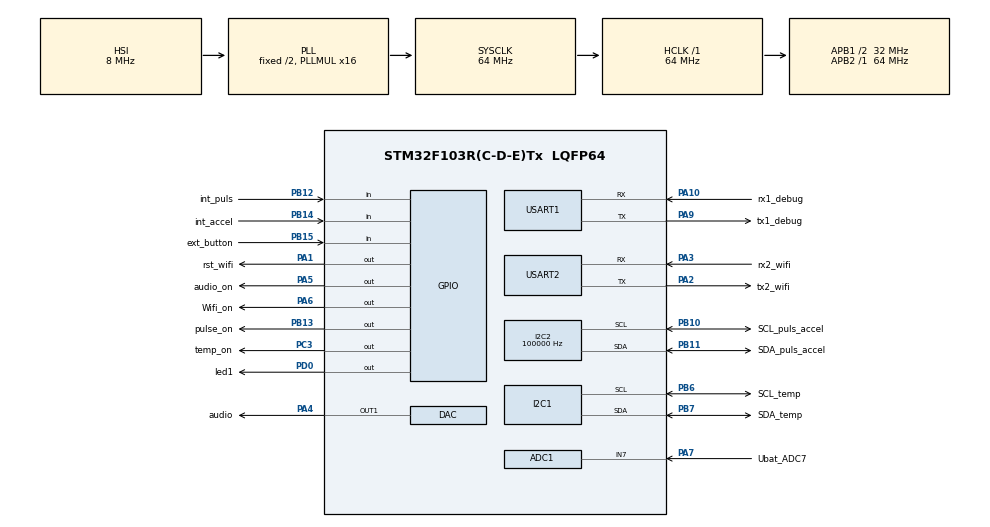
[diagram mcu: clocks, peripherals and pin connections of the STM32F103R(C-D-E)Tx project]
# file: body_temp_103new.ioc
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ADC1.Channel-0\#ChannelRegularConversion=ADC_CHANNEL_7
ADC1.NbrOfConversionFlag=1
ADC1.Rank-0\#ChannelRegularConversion=1
ADC1.SamplingTime-0\#ChannelRegularConversion=ADC_SAMPLETIME_1CYCLE_5
ADC1.master=1
I2C1.I2C_Mode=I2C_Fast
I2C2.ClockSpeed=100000
I2C2.I2C_Mode=I2C_Fast
Mcu.Family=STM32F1
Mcu.Name=STM32F103R(C-D-E)Tx
Mcu.Package=LQFP64
NVIC.PriorityGroup=NVIC_PRIORITYGROUP_4
NVIC.TIM2_IRQn=true\:0\:0\:false\:false\:true\:true\:true
NVIC.TIM4_IRQn=true\:0\:0\:false\:false\:true\:true\:true
NVIC.USART1_IRQn=true\:0\:0\:false\:false\:true\:true\:true
NVIC.USART2_IRQn=true\:0\:0\:false\:false\:true\:true\:true
PA1.GPIO_Label=rst_wifi
PA1.Signal=GPIO_Output
PA10.GPIO_Label=rx1_debug
PA10.Mode=Asynchronous
PA10.Signal=USART1_RX
PA13.Mode=Trace_Asynchronous_SW
PA13.Signal=SYS_JTMS-SWDIO
PA14.Mode=Trace_Asynchronous_SW
PA14.Signal=SYS_JTCK-SWCLK
PA2.GPIO_Label=tx2_wifi
PA2.Mode=Asynchronous
PA2.Signal=USART2_TX
PA3.GPIO_Label=rx2_wifi
PA3.Mode=Asynchronous
PA3.Signal=USART2_RX
PA4.GPIO_Label=audio
PA4.Signal=COMP_DAC1_group
PA5.GPIO_Label=audio_on
PA5.Signal=GPIO_Output
PA6.GPIO_Label=Wifi_on
PA6.Signal=GPIO_Output
PA7.GPIO_Label=Ubat_ADC7
PA7.Signal=ADCx_IN7
PA9.GPIO_Label=tx1_debug
PA9.Mode=Asynchronous
PA9.Signal=USART1_TX
PB10.GPIO_Label=SCL_puls_accel
PB10.Mode=I2C
PB10.Signal=I2C2_SCL
PB11.GPIO_Label=SDA_puls_accel
PB11.Mode=I2C
PB11.Signal=I2C2_SDA
PB12.GPIO_Label=int_puls
PB12.Signal=GPIO_Input
PB13.GPIO_Label=pulse_on
PB13.Signal=GPIO_Output
PB14.GPIO_Label=int_accel
PB14.Signal=GPIO_Input
PB15.GPIO_Label=ext_button
PB15.Signal=GPIO_Input
PB3.Mode=Trace_Asynchronous_SW
PB3.Signal=SYS_JTDO-TRACESWO
PB6.GPIO_Label=SCL_temp
PB6.Mode=I2C
PB6.Signal=I2C1_SCL
PB7.GPIO_Label=SDA_temp
PB7.Mode=I2C
PB7.Signal=I2C1_SDA
PC3.GPIO_Label=temp_on
PC3.Signal=GPIO_Output
PD0-OSC_IN.GPIO_Label=led1
PD0-OSC_IN.Signal=GPIO_Output
ProjectManager.HeapSize=0x200
ProjectManager.StackSize=0x400
ProjectManager.TargetToolchain=MDK-ARM V5
RCC.ADCPresc=RCC_ADCPCLK2_DIV6
RCC.AHBFreq_Value=64000000
RCC.APB1CLKDivider=RCC_HCLK_DIV2
RCC.APB1Freq_Value=32000000
RCC.APB1TimFreq_Value=64000000
RCC.APB2Freq_Value=64000000
RCC.APB2TimFreq_Value=64000000
RCC.HCLKFreq_Value=64000000
RCC.PLLMUL=RCC_PLL_MUL16
RCC.RTCClockSelection=RCC_RTCCLKSOURCE_LSE
RCC.SYSCLKFreq_VALUE=64000000
RCC.SYSCLKSource=RCC_SYSCLKSOURCE_PLLCLK
RCC.USBFreq_Value=64000000
SH.ADCx_IN7.0=ADC1_IN7,IN7
SH.COMP_DAC1_group.0=DAC_OUT1,DAC_OUT1
TIM2.Period=30
TIM2.Prescaler=200
TIM4.Period=64
TIM4.Prescaler=6400
USART1.VirtualMode=VM_ASYNC
USART2.VirtualMode=VM_ASYNC
VP_TIM2_VS_ClockSourceINT.Mode=Internal
VP_TIM4_VS_ClockSourceINT.Mode=Internal
board=custom

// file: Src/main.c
/* USER CODE BEGIN Header */
/**
  ******************************************************************************
  * @file           : main.c
  * @brief          : Main program body
  ******************************************************************************
  * @attention
  *
  * <h2><center>&copy; Copyright (c) 2020 STMicroelectronics.
  * All rights reserved.</center></h2>
  *
  * This software component is licensed by ST under BSD 3-Clause license,
  * the "License"; You may not use this file except in compliance with the
  * License. You may obtain a copy of the License at:
  *                        opensource.org/licenses/BSD-3-Clause
  *
  ******************************************************************************
  */
/* USER CODE END Header */

#include "main.h"
#include "adc.h"
#include "dac.h"
#include "i2c.h"
#include "tim.h"
#include "usart.h"
#include "gpio.h"

/* USER CODE BEGIN Includes */
#include <string.h>
#include "function.h"
#include "Si7021_driver.h"
#include "printfdebug.h"
#include "max30100_for_stm32_hal.h"
#include "hr_spo2_math.h"

float Puls_serv=0.0;
float Temp_serv=0.0;
uint8_t delay_send=0;
uint8_t math_start=0;																		//флаг того, что массивы пульса и кислорода заполнены, пора их обсчитывать
extern float32_t chanel_ir[BLOCK_SIZE];									//массив с показаниями пульса
extern float32_t chanel_red[BLOCK_SIZE];								//массив с показаниями кислорода
extern uint32_t wdt_com;																//общий сторожевой таймер

uint16_t wdt_wifi=0;
/* USER CODE END Includes */

void SystemClock_Config(void);

int main(void)
{

  /* MCU Configuration--------------------------------------------------------*/

  /* Reset of all peripherals, Initializes the Flash interface and the Systick. */
  HAL_Init();

  /* Configure the system clock */
  SystemClock_Config();

  /* Initialize all configured peripherals */
  MX_GPIO_Init();
  MX_DAC_Init();
  MX_USART1_UART_Init();
  MX_USART2_UART_Init();
  MX_TIM4_Init();
  MX_TIM2_Init();
  MX_I2C1_Init();
  MX_I2C2_Init();
  MX_ADC1_Init();

  /* Infinite loop */
  /* USER CODE BEGIN WHILE */
	play_wav(wav_ism_puls,sizeof(wav_ism_puls),0);HAL_Delay(1000);

	hr_filter_init();																									//инициализация фильтров для вычисления пульса и кислорода в крови
	init_perif();																											//инициализация перефирии устройства
	debug((uint8_t*)"Start system\r\n",0);
	char buf[100]={0};

  while (1)
  {
		if(math_start/*&&sys_flags&FLAG_TCP*/){															//если массив с данными пульса и кислорода накопили и TCP соединение создано
			LED_ON;
			hr_math_(chanel_red,chanel_ir);																//обработать массивы пульса и кислорода
			math_start=0;																									//сбросить флаг
			sprintf(buf,"Temp: %.1f\tPuls: %d\tSpO2=%d\r\n",r_single_Si7021(),(uint16_t)Puls_serv,SpO2);
			wdt_com=0;																										//сбрасываем общий сторожевой таймер
			debug((uint8_t*)buf,0);
			LED_OFF;
		}

		wdt_wifi++;																											//сторожевой таймер вайфая, сбрасывается, если был приём от вайфая
		if(wdt_wifi>=30) {wdt_wifi=0; sys_flags=0; com_flags=0;}				//если в течении некоторого времени не было приёма от вайфая, то сбрасываем все флаги состояний, что инициализирует перезагрузку вайфая
		commands(1);
    /* USER CODE END WHILE */

  }
}

void SystemClock_Config(void)
{
  RCC_OscInitTypeDef RCC_OscInitStruct = {0};
  RCC_ClkInitTypeDef RCC_ClkInitStruct = {0};
  RCC_PeriphCLKInitTypeDef PeriphClkInit = {0};

  /** Initializes the CPU, AHB and APB busses clocks
  */
  RCC_OscInitStruct.OscillatorType = RCC_OSCILLATORTYPE_HSI;
  RCC_OscInitStruct.HSIState = RCC_HSI_ON;
  RCC_OscInitStruct.HSICalibrationValue = RCC_HSICALIBRATION_DEFAULT;
  RCC_OscInitStruct.PLL.PLLState = RCC_PLL_ON;
  RCC_OscInitStruct.PLL.PLLSource = RCC_PLLSOURCE_HSI_DIV2;
  RCC_OscInitStruct.PLL.PLLMUL = RCC_PLL_MUL16;
  if (HAL_RCC_OscConfig(&RCC_OscInitStruct) != HAL_OK)
  {
    Error_Handler();
  }
  /** Initializes the CPU, AHB and APB busses clocks
  */
  RCC_ClkInitStruct.ClockType = RCC_CLOCKTYPE_HCLK|RCC_CLOCKTYPE_SYSCLK
                              |RCC_CLOCKTYPE_PCLK1|RCC_CLOCKTYPE_PCLK2;
  RCC_ClkInitStruct.SYSCLKSource = RCC_SYSCLKSOURCE_PLLCLK;
  RCC_ClkInitStruct.AHBCLKDivider = RCC_SYSCLK_DIV1;
  RCC_ClkInitStruct.APB1CLKDivider = RCC_HCLK_DIV2;
  RCC_ClkInitStruct.APB2CLKDivider = RCC_HCLK_DIV1;

  if (HAL_RCC_ClockConfig(&RCC_ClkInitStruct, FLASH_LATENCY_2) != HAL_OK)
  {
    Error_Handler();
  }
  PeriphClkInit.PeriphClockSelection = RCC_PERIPHCLK_ADC;
  PeriphClkInit.AdcClockSelection = RCC_ADCPCLK2_DIV6;
  if (HAL_RCCEx_PeriphCLKConfig(&PeriphClkInit) != HAL_OK)
  {
    Error_Handler();
  }
}

void Error_Handler(void)
{
}

/************************ (C) COPYRIGHT STMicroelectronics *****END OF FILE****/
